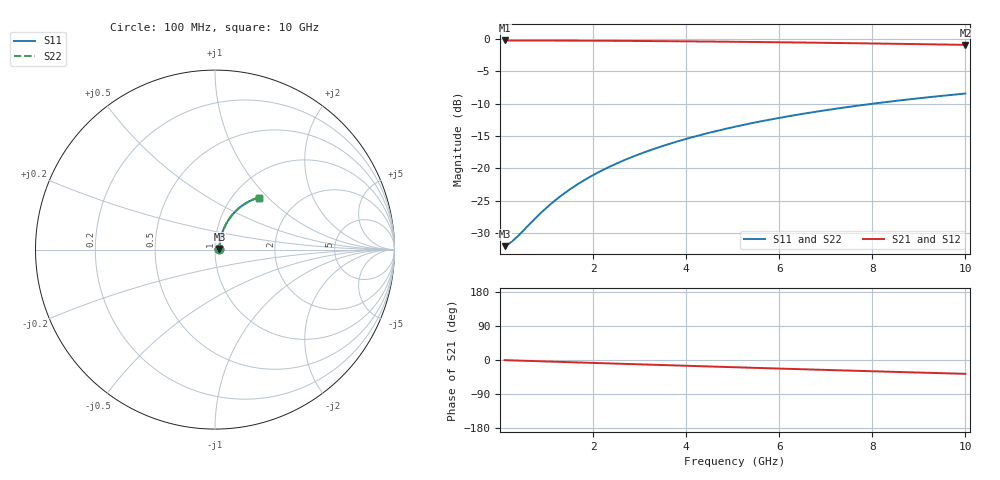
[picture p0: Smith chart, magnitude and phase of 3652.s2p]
# Hz S RI R 50.00
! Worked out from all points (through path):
!   100 points, 100 MHz to 10 GHz, reference 50 ohm
!   highest |S21| = -0.22 dB at 100 MHz (marker M1); lowest = -0.9 dB at 10 GHz (marker M2)
!   group delay of S21, straight-line fit = 10.2 ps
!   lowest |S11| = -32.0 dB at 100 MHz (marker M3), VSWR 1.05, Z = 52.5 + j0.431 ohm
!   |S11| at or under -10 dB: start of sweep to 8.011 GHz
!   |S22| runs from -32.0 to -8.4 dB; largest |S21 - S12| = 0
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1e8  0.0247 0.0041  0.9753 -0.00654  0.9753 -0.00654  0.0247 0.0041
2e8  0.0249 0.0082  0.9751 -0.0131  0.9751 -0.0131  0.0249 0.0082
3e8  0.0252 0.0123  0.9748 -0.0196  0.9748 -0.0196  0.0252 0.0123
4e8  0.0255 0.0164  0.9745 -0.0261  0.9745 -0.0261  0.0255 0.0164
8e8  0.0271 0.0327  0.9727 -0.0522  0.9727 -0.0522  0.0271 0.0327
1.1e9  0.0288 0.0449  0.9708 -0.0716  0.9708 -0.0716  0.0288 0.0449
1.4e9  0.0309 0.0569  0.9684 -0.091  0.9684 -0.091  0.0309 0.0569
1.6e9  0.0326 0.0649  0.9666 -0.1039  0.9666 -0.1039  0.0326 0.0649
1.8e9  0.0346 0.0728  0.9644 -0.1167  0.9644 -0.1167  0.0346 0.0728
2.1e9  0.0378 0.0846  0.9608 -0.1357  0.9608 -0.1357  0.0378 0.0846
2.5e9  0.0428 0.1  0.9552 -0.1609  0.9552 -0.1609  0.0428 0.1
2.9e9  0.0487 0.1151  0.9487 -0.1858  0.9487 -0.1858  0.0487 0.1151
3.4e9  0.057 0.1334  0.9394 -0.2163  0.9394 -0.2163  0.057 0.1334
3.8e9  0.0645 0.1475  0.9311 -0.2403  0.9311 -0.2403  0.0645 0.1475
4.2e9  0.0727 0.1612  0.9219 -0.2637  0.9219 -0.2637  0.0727 0.1612
4.6e9  0.0815 0.1744  0.912 -0.2867  0.912 -0.2867  0.0815 0.1744
5.1e9  0.0934 0.19  0.8986 -0.3146  0.8986 -0.3146  0.0934 0.19
5.9e9  0.1142 0.2132  0.8751 -0.3575  0.8751 -0.3575  0.1142 0.2132
6.7e9  0.137 0.2338  0.8492 -0.3978  0.8492 -0.3978  0.137 0.2338
7.5e9  0.1613 0.2517  0.8213 -0.4356  0.8213 -0.4356  0.1613 0.2517
8.4e9  0.1901 0.2686  0.788 -0.4749  0.788 -0.4749  0.1901 0.2686
1e10  0.2436 0.2901  0.7251 -0.5363  0.7251 -0.5363  0.2436 0.2901
